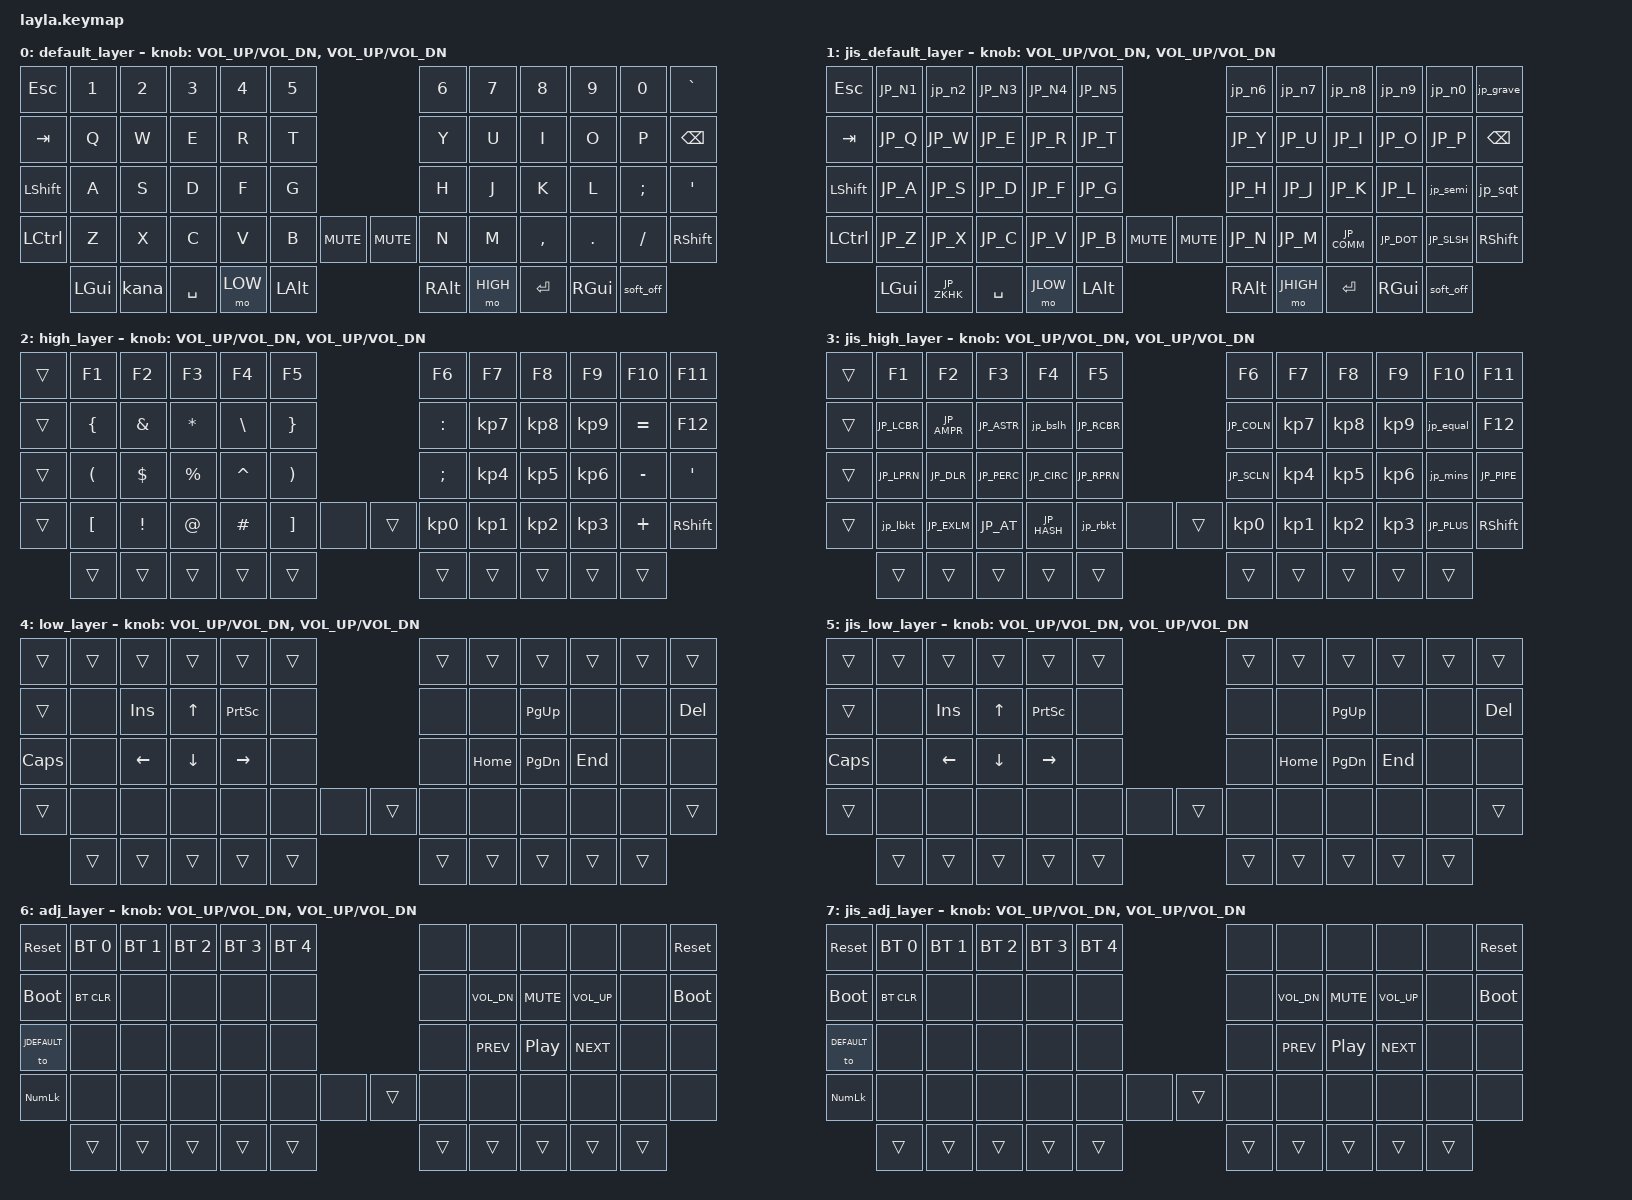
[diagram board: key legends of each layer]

  /*
  * Copyright (c) 2020 The ZMK Contributors
  *
  * SPDX-License-Identifier: MIT
  */

  #include <behaviors.dtsi>
  #include <dt-bindings/zmk/keys.h>
  #include <dt-bindings/zmk/bt.h>
  #include <dt-bindings/zmk/ext_power.h>
  #include "keys_jp.h"

  #define DEFAULT 0
  #define JDEFAULT 1
  #define HIGH 2
  #define JHIGH 3
  #define LOW 4
  #define JLOW 5
  #define ADJ 6
  #define JADJ 7

  &sk {
    release-after-ms = <2000>;
    quick-release;
    /delete-property/ ignore-modifiers;
  };
  &soft_off {
    hold-time-ms = <2000>; // Only turn off it the key is held for 2 seconds or longer.
  };

  / {
    behaviors {
        #include "behaviors_mod_morph.dtsi"
    };

    macros {
        kana: kana {
            compatible = "zmk,behavior-macro";
            #binding-cells = <0>;
            bindings
                = <&macro_press &kp LALT>
                , <&macro_tap &kp GRAVE>
                , <&macro_release &kp LALT>
                ;
        };
    };

    keymap {
      compatible = "zmk,keymap";
    // ┌───┬───┬───┬───┬───┬───┐                      ┌───┬───┬───┬───┬───┬───┐
    // │Esc│ 1 │ 2 │ 3 │ 4 │ 5 │                      │ 6 │ 7 │ 8 │ 9 │ 0 │ ` │
    // ├───┼───┼───┼───┼───┼───┤                      ├───┼───┼───┼───┼───┼───┤
    // │Tab│ Q │ W │ E │ R │ T │                      │ Y │ U │ I │ O │ P │Bsp│
    // ├───┼───┼───┼───┼───┼───┤                      ├───┼───┼───┼───┼───┼───┤
    // │Sft│ A │ S │ D │ F │ G │                      │ H │ J │ K │ L │ ; │ ' │
    // ├───┼───┼───┼───┼───┼───┤ ┌───┐          ┌───┐ ├───┼───┼───┼───┼───┼───┤
    // │Ctl│ Z │ X │ C │ V │ B │ │   │          │Mut│ │ N │ M │ , │ . │ / │Sft│
    // └───┴───┴───┴───┴───┴───┘ └───┘          └───┘ └───┴───┴───┴───┴───┴───┘
    //     ┌───┬───┬───┐                                      ┌───┬───┬───┐
    //     │GUI│Kan│Spc├───┬───┐                      ┌───┬───┤Ent│   │GUI│
    //     └───┴───┴───┤Low│Alt│                      │Alt│Hgh├───┴───┴───┘
    //                 └───┴───┘                      └───┴───┘ 
    // 
        default_layer {
          bindings = <
    &kp ESC      &kp N1    &kp N2    &kp N3    &kp N4    &kp N5                            &kp N6    &kp N7    &kp N8    &kp N9    &kp N0    &kp GRAVE
    &kp TAB      &kp Q     &kp W     &kp E     &kp R     &kp T                             &kp Y     &kp U     &kp I     &kp O     &kp P     &kp BSPC
    &kp LSHFT    &kp A     &kp S     &kp D     &kp F     &kp G                             &kp H     &kp J     &kp K     &kp L     &kp SEMI  &kp SQT
    &kp LCTRL    &kp Z     &kp X     &kp C     &kp V     &kp B    &kp C_MUTE    &kp C_MUTE &kp N     &kp M     &kp COMMA &kp DOT   &kp FSLH  &kp RSHFT
                 &kp LGUI  &kana     &kp SPACE &mo LOW   &kp LALT                          &kp RALT  &mo HIGH  &kp ENTER &kp RGUI  &soft_off
          >;

          sensor-bindings = <&inc_dec_kp C_VOL_UP C_VOL_DN &inc_dec_kp C_VOL_UP C_VOL_DN>;
        };
        
        jis_default_layer {
          bindings = <
    &kp ESC      &kp JP_N1   &jp_n2      &kp JP_N3   &kp JP_N4   &kp JP_N5                          &jp_n6      &jp_n7      &jp_n8      &jp_n9      &jp_n0      &jp_grave
    &kp TAB      &kp JP_Q    &kp JP_W    &kp JP_E    &kp JP_R    &kp JP_T                           &kp JP_Y    &kp JP_U    &kp JP_I    &kp JP_O    &kp JP_P    &kp BSPC
    &kp LSHFT    &kp JP_A    &kp JP_S    &kp JP_D    &kp JP_F    &kp JP_G                           &kp JP_H    &kp JP_J    &kp JP_K    &kp JP_L    &jp_semi    &jp_sqt
    &kp LCTRL    &kp JP_Z    &kp JP_X    &kp JP_C    &kp JP_V    &kp JP_B  &kp C_MUTE    &kp C_MUTE &kp JP_N    &kp JP_M    &kp JP_COMM &kp JP_DOT  &kp JP_SLSH &kp RSHFT
                &kp LGUI    &kp JP_ZKHK &kp SPACE   &mo JLOW    &kp LALT                           &kp RALT    &mo JHIGH   &kp ENTER   &kp RGUI    &soft_off
          >;

          sensor-bindings = <&inc_dec_kp C_VOL_UP C_VOL_DN &inc_dec_kp C_VOL_UP C_VOL_DN>;
        };

    // ┌───┬───┬───┬───┬───┬───┐                      ┌───┬───┬───┬───┬───┬───┐
    // │Esc│F1 │F2 │F3 │F4 │F5 │                      │F6 │F7 │F8 │F9 │F10│F11│
    // ├───┼───┼───┼───┼───┼───┤                      ├───┼───┼───┼───┼───┼───┤
    // │Tab│ ( │ & │ * │ \ │ ) │                      │ : │ 7 │ 8 │ 9 │ = │F12│
    // ├───┼───┼───┼───┼───┼───┤                      ├───┼───┼───┼───┼───┼───┤
    // │Sft│ { │ $ │ % │ ^ │ } │                      │ ; │ 4 │ 5 │ 6 │ - │ | │
    // ├───┼───┼───┼───┼───┼───┤ ┌───┐          ┌───┐ ├───┼───┼───┼───┼───┼───┤
    // │Ctl│ [ │ ! │ @ │ # │ ] │ │   │          │Mut│ │ 0 │ 1 │ 2 │ 3 │ + │Sft│
    // └───┴───┴───┴───┴───┴───┘ └───┘          └───┘ └───┴───┴───┴───┴───┴───┘
    //     ┌───┬───┬───┐                                      ┌───┬───┬───┐
    //     │GUI│Kan│Spc├───┬───┐                      ┌───┬───┤Ent│   │GUI│
    //     └───┴───┴───┤Low│Alt│                      │Alt│Hgh├───┴───┴───┘
    //                 └───┴───┘                      └───┴───┘
        high_layer {
          bindings = <
    &trans      &kp F1       &kp F2       &kp F3       &kp F4       &kp F5                       &kp F6       &kp F7       &kp F8       &kp F9       &kp F10      &kp F11
    &trans      &kp LBRC     &kp AMPS     &kp ASTRK    &kp BSLH     &kp RBRC                     &kp COLON    &kp KP_N7    &kp KP_N8    &kp KP_N9    &kp EQUAL    &kp F12
    &trans      &kp LPAR     &kp DLLR     &kp PRCNT    &kp CARET    &kp RPAR                     &kp SEMI     &kp KP_N4    &kp KP_N5    &kp KP_N6    &kp MINUS    &kp SQT
    &trans      &kp LBKT     &kp EXCL     &kp AT       &kp HASH     &kp RBKT &none       &trans  &kp KP_N0    &kp KP_N1    &kp KP_N2    &kp KP_N3    &kp PLUS     &kp RSHFT
                &trans       &trans       &trans       &trans       &trans                       &trans       &trans       &trans       &trans       &trans
          >;

          sensor-bindings = <&inc_dec_kp C_VOL_UP C_VOL_DN &inc_dec_kp C_VOL_UP C_VOL_DN>;
        };
        jis_high_layer {
          bindings = <
    &trans      &kp F1       &kp F2       &kp F3       &kp F4       &kp F5                          &kp F6       &kp F7       &kp F8       &kp F9       &kp F10      &kp F11
    &trans      &kp JP_LCBR  &kp JP_AMPR  &kp JP_ASTR  &jp_bslh     &kp JP_RCBR                     &kp JP_COLN  &kp KP_N7    &kp KP_N8    &kp KP_N9    &jp_equal    &kp F12
    &trans      &kp JP_LPRN  &kp JP_DLR   &kp JP_PERC  &kp JP_CIRC  &kp JP_RPRN                     &kp JP_SCLN  &kp KP_N4    &kp KP_N5    &kp KP_N6    &jp_mins     &kp JP_PIPE
    &trans      &jp_lbkt     &kp JP_EXLM  &kp JP_AT    &kp JP_HASH  &jp_rbkt    &none       &trans  &kp KP_N0    &kp KP_N1    &kp KP_N2    &kp KP_N3    &kp JP_PLUS  &kp RSHFT
                &trans       &trans       &trans       &trans       &trans                          &trans       &trans       &trans       &trans       &trans
          >;

          sensor-bindings = <&inc_dec_kp C_VOL_UP C_VOL_DN &inc_dec_kp C_VOL_UP C_VOL_DN>;
        };

    // ┌───┬───┬───┬───┬───┬───┐                      ┌───┬───┬───┬───┬───┬───┐
    // │Esc│ 1 │ 2 │ 3 │ 4 │ 5 │                      │ 6 │ 7 │ 8 │ 9 │ 0 │ ` │
    // ├───┼───┼───┼───┼───┼───┤                      ├───┼───┼───┼───┼───┼───┤
    // │Tab│   │Ins│ ↑ │Prs│   │                      │   │   │PUp│   │   │Del│
    // ├───┼───┼───┼───┼───┼───┤                      ├───┼───┼───┼───┼───┼───┤
    // │Cap│   │ ← │ ↓ │ → │   │                      │   │Hom│PDn│End│   │   │
    // ├───┼───┼───┼───┼───┼───┤ ┌───┐          ┌───┐ ├───┼───┼───┼───┼───┼───┤
    // │Ctl│   │   │   │   │   │ │   │          │Mut│ │   │   │   │   │   │Sft│
    // └───┴───┴───┴───┴───┴───┘ └───┘          └───┘ └───┴───┴───┴───┴───┴───┘
    //     ┌───┬───┬───┐                                      ┌───┬───┬───┐
    //     │GUI│Kan│Spc├───┬───┐                      ┌───┬───┤Ent│   │GUI│
    //     └───┴───┴───┤Low│Alt│                      │Alt│Hgh├───┴───┴───┘
    //                 └───┴───┘                      └───┴───┘
        low_layer {
          bindings = <
    &trans      &trans       &trans       &trans       &trans       &trans                     &trans       &trans       &trans       &trans       &trans    &trans
    &trans      &none        &kp INS      &kp UP       &kp PSCRN    &none                      &none        &none        &kp PG_UP    &none        &none     &kp DEL
    &kp CAPS    &none        &kp LEFT     &kp DOWN     &kp RIGHT    &none                      &none        &kp HOME     &kp PG_DN    &kp END      &none     &none
    &trans      &none        &none        &none        &none        &none  &none       &trans  &none        &none        &none        &none        &none     &trans
                &trans       &trans       &trans       &trans       &trans                     &trans       &trans       &trans       &trans       &trans
          >;

          sensor-bindings = <&inc_dec_kp C_VOL_UP C_VOL_DN &inc_dec_kp C_VOL_UP C_VOL_DN>;
        };
        jis_low_layer {
          bindings = <
    &trans      &trans       &trans       &trans       &trans       &trans                     &trans       &trans       &trans       &trans       &trans    &trans
    &trans      &none        &kp INS      &kp UP       &kp PSCRN    &none                      &none        &none        &kp PG_UP    &none        &none     &kp DEL
    &kp CAPS    &none        &kp LEFT     &kp DOWN     &kp RIGHT    &none                      &none        &kp HOME     &kp PG_DN    &kp END      &none     &none
    &trans      &none        &none        &none        &none        &none  &none       &trans  &none        &none        &none        &none        &none     &trans
                &trans       &trans       &trans       &trans       &trans                     &trans       &trans       &trans       &trans       &trans
          >;

          sensor-bindings = <&inc_dec_kp C_VOL_UP C_VOL_DN &inc_dec_kp C_VOL_UP C_VOL_DN>;
        };

    // ┌───┬───┬───┬───┬───┬───┐                      ┌───┬───┬───┬───┬───┬───┐
    // │Rst│BT1│BT2│BT3│BT4│BT5│                      │   │   │   │   │   │Rst│
    // ├───┼───┼───┼───┼───┼───┤                      ├───┼───┼───┼───┼───┼───┤
    // │BL │Dsc│   │   │   │   │                      │   │VDo│Mut│VUp│   │BL │
    // ├───┼───┼───┼───┼───┼───┤                      ├───┼───┼───┼───┼───┼───┤
    // │Lay│   │   │   │   │   │                      │   │Prv│Ply│Nxt│   │   │
    // ├───┼───┼───┼───┼───┼───┤ ┌───┐          ┌───┐ ├───┼───┼───┼───┼───┼───┤
    // │Num│   │   │   │   │   │ │   │          │Mut│ │   │   │   │   │   │   │
    // └───┴───┴───┴───┴───┴───┘ └───┘          └───┘ └───┴───┴───┴───┴───┴───┘
    //     ┌───┬───┬───┐                                      ┌───┬───┬───┐
    //     │GUI│Kan│Spc├───┬───┐                      ┌───┬───┤Ent│   │GUI│
    //     └───┴───┴───┤Low│Alt│                      │Alt│Hgh├───┴───┴───┘
    //                 └───┴───┘                      └───┴───┘ 
        adj_layer {
          bindings = <
    &sys_reset     &bt BT_SEL 0 &bt BT_SEL 1 &bt BT_SEL 2 &bt BT_SEL 3 &bt BT_SEL 4                     &none        &none        &none        &none        &none     &sys_reset
    &bootloader    &bt BT_CLR   &none        &none        &none        &none                            &none        &kp C_VOL_DN &kp C_MUTE   &kp C_VOL_UP &none     &bootloader
    &to JDEFAULT   &none        &none        &none        &none        &none                            &none        &kp C_PREV   &kp C_PP     &kp C_NEXT   &none     &none
    &kp KP_NUMLOCK &none        &none        &none        &none        &none        &none       &trans  &none        &none        &none        &none        &none     &none
                  &trans       &trans       &trans       &trans       &trans                           &trans       &trans       &trans       &trans       &trans
          >;

          sensor-bindings = <&inc_dec_kp C_VOL_UP C_VOL_DN &inc_dec_kp C_VOL_UP C_VOL_DN>;
        };
        jis_adj_layer {
          bindings = <
    &sys_reset     &bt BT_SEL 0 &bt BT_SEL 1 &bt BT_SEL 2 &bt BT_SEL 3 &bt BT_SEL 4                     &none        &none        &none        &none        &none     &sys_reset
    &bootloader    &bt BT_CLR   &none        &none        &none        &none                            &none        &kp C_VOL_DN &kp C_MUTE   &kp C_VOL_UP &none     &bootloader
    &to DEFAULT    &none        &none        &none        &none        &none                            &none        &kp C_PREV   &kp C_PP     &kp C_NEXT   &none     &none
    &kp KP_NUMLOCK &none        &none        &none        &none        &none        &none       &trans  &none        &none        &none        &none        &none     &none
                  &trans       &trans       &trans       &trans       &trans                           &trans       &trans       &trans       &trans       &trans
          >;

          sensor-bindings = <&inc_dec_kp C_VOL_UP C_VOL_DN &inc_dec_kp C_VOL_UP C_VOL_DN>;
        };
    };
  };
  
  / {
    conditional_layers {
        compatible = "zmk,conditional-layers";
        tri_layer {
            if-layers = <2 4>;
            then-layer = <6>;
        };
        jis_tri_layer {
            if-layers = <3 5>;
            then-layer = <7>;
        };
    };
};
